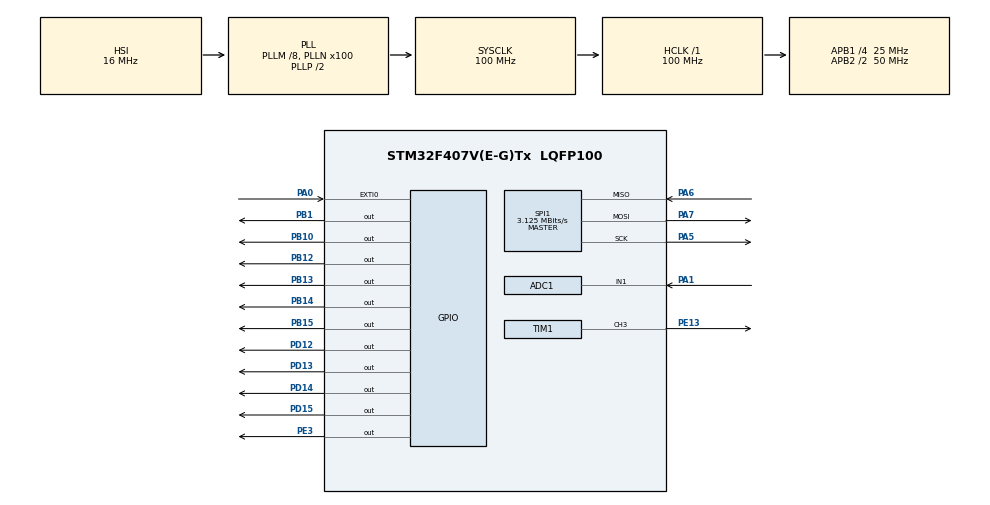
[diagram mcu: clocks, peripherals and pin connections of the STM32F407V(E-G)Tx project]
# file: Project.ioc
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ADC1.Channel-0\#ChannelRegularConversion=ADC_CHANNEL_1
ADC1.NbrOfConversionFlag=1
ADC1.Rank-0\#ChannelRegularConversion=1
ADC1.Resolution=ADC_RESOLUTION_8B
ADC1.SamplingTime-0\#ChannelRegularConversion=ADC_SAMPLETIME_3CYCLES
ADC1.master=1
Mcu.Family=STM32F4
Mcu.Name=STM32F407V(E-G)Tx
Mcu.Package=LQFP100
NVIC.EXTI0_IRQn=true\:0\:0\:false\:false\:true\:true\:true\:true
NVIC.PriorityGroup=NVIC_PRIORITYGROUP_0
NVIC.TIM2_IRQn=true\:0\:0\:false\:false\:true\:true\:true\:true
NVIC.TIM3_IRQn=true\:0\:0\:false\:false\:true\:true\:true\:true
PA0-WKUP.Signal=GPXTI0
PA1.Signal=ADCx_IN1
PA13.Mode=Serial_Wire
PA13.Signal=SYS_JTMS-SWDIO
PA14.Mode=Serial_Wire
PA14.Signal=SYS_JTCK-SWCLK
PA5.Mode=Full_Duplex_Master
PA5.Signal=SPI1_SCK
PA6.Mode=Full_Duplex_Master
PA6.Signal=SPI1_MISO
PA7.Mode=Full_Duplex_Master
PA7.Signal=SPI1_MOSI
PB1.Signal=GPIO_Output
PB10.Signal=GPIO_Output
PB12.Signal=GPIO_Output
PB13.Signal=GPIO_Output
PB14.Signal=GPIO_Output
PB15.Signal=GPIO_Output
PD12.Signal=GPIO_Output
PD13.Signal=GPIO_Output
PD14.Signal=GPIO_Output
PD15.Signal=GPIO_Output
PE13.Signal=S_TIM1_CH3
PE3.PinState=GPIO_PIN_SET
PE3.Signal=GPIO_Output
ProjectManager.HeapSize=0x200
ProjectManager.StackSize=0x400
ProjectManager.TargetToolchain=STM32CubeIDE
RCC.48MHZClocksFreq_Value=28571428.57142857
RCC.AHBFreq_Value=100000000
RCC.APB1CLKDivider=RCC_HCLK_DIV4
RCC.APB1Freq_Value=25000000
RCC.APB1TimFreq_Value=50000000
RCC.APB2CLKDivider=RCC_HCLK_DIV2
RCC.APB2Freq_Value=50000000
RCC.APB2TimFreq_Value=100000000
RCC.CortexFreq_Value=100000000
RCC.HCLKFreq_Value=100000000
RCC.HSE_VALUE=8000000
RCC.HSI_VALUE=16000000
RCC.LSE_VALUE=32768
RCC.PLLM=8
RCC.PLLN=100
RCC.PLLQ=7
RCC.SYSCLKFreq_VALUE=100000000
RCC.SYSCLKSource=RCC_SYSCLKSOURCE_PLLCLK
RCC.VCOOutputFreq_Value=200000000
SH.ADCx_IN1.0=ADC1_IN1,IN1
SH.S_TIM1_CH3.0=TIM1_CH3,PWM Generation3 CH3
SPI1.BaudRatePrescaler=SPI_BAUDRATEPRESCALER_16
SPI1.CalculateBaudRate=3.125 MBits/s
SPI1.Direction=SPI_DIRECTION_2LINES
SPI1.Mode=SPI_MODE_MASTER
SPI1.VirtualType=VM_MASTER
TIM1.Channel-PWM\ Generation3\ CH3=TIM_CHANNEL_3
TIM2.AutoReloadPreload=TIM_AUTORELOAD_PRELOAD_DISABLE
TIM2.Period=18750
TIM2.Prescaler=9999
TIM2.TIM_MasterOutputTrigger=TIM_TRGO_OC1REF
TIM3.Prescaler=3100
VP_TIM2_VS_ClockSourceINT.Mode=Internal
VP_TIM3_VS_ClockSourceINT.Mode=Internal
board=STM32F407G-DISC1

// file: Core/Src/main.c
/* USER CODE BEGIN Header */
/**
  ******************************************************************************
  * @file           : main.c
  * @brief          : Main program body
  ******************************************************************************
  * @attention
  *
  * Copyright (c) 2024 STMicroelectronics.
  * All rights reserved.
  *
  * This software is licensed under terms that can be found in the LICENSE file
  * in the root directory of this software component.
  * If no LICENSE file comes with this software, it is provided AS-IS.
  *
  ******************************************************************************
  */
/* USER CODE END Header */
#include "main.h"

/* USER CODE BEGIN Includes */
#include <stdio.h>
#include <stdbool.h>
#include "lcd.h"
/* USER CODE END Includes */

/* USER CODE BEGIN PD */
#define DelayBounce 50
/* USER CODE END PD */

ADC_HandleTypeDef hadc1;

SPI_HandleTypeDef hspi1;

TIM_HandleTypeDef htim1;
TIM_HandleTypeDef htim2;
TIM_HandleTypeDef htim3;

/* USER CODE BEGIN PV */
volatile bool flagmover,flagbase;
volatile bool initX, initY, initZ;
uint8_t newx, newy, newz;
uint8_t basex;
uint8_t basey;
uint8_t basez;
uint8_t data_ctrl1, address_ctrl1;
uint8_t valuechange, changeaddress;
uint8_t XDA,YDA,ZDA, XYZDA;
uint8_t bigX,bigY,bigZ,smlX,smlY,smlZ,Xadr,Yadr,Zadr;
uint8_t tempadd, temperatura;
uint8_t valADC;
uint32_t Timer=0;
bool THigh,TLow,cn;
int Temp,dutyc;
volatile uint32_t Bounce=0;
LCD_t lcd;
/* USER CODE END PV */

void SystemClock_Config(void);
static void MX_GPIO_Init(void);
static void MX_ADC1_Init(void);
static void MX_SPI1_Init(void);
static void MX_TIM2_Init(void);
static void MX_TIM3_Init(void);
static void MX_TIM1_Init(void);

/* USER CODE BEGIN 0 */
void HAL_GPIO_EXTI_Callback(uint16_t GPIO_Pin){
		if((HAL_GetTick()-Bounce)>DelayBounce){
			Bounce=HAL_GetTick();
			flagmover= true;
			HAL_TIM_Base_Start_IT(&htim3);
		}
}

void HAL_TIM_PeriodElapsedCallback(TIM_HandleTypeDef *htim){
	if(htim->Instance == TIM2){
		flagbase=true;
	}
	if(htim->Instance == TIM3){
		flagmover= false;
		HAL_TIM_Base_Stop_IT(&htim3);
		__HAL_TIM_SET_COUNTER(&htim3,0);
		__HAL_TIM_SET_COUNTER(&htim2,0);
		HAL_TIM_Base_Start_IT(&htim2);
		flagbase=false;
		initX= false;
		initY= false;
		initZ= false;
	}
}

int twos_to_int(uint8_t Input){
	int value;
	if(Input>127){
		value= -(~Input+1);
	}else{
		value=Input;
	}
	return value;
}

/* USER CODE END 0 */

int main(void)
{

  /* MCU Configuration--------------------------------------------------------*/

  /* Reset of all peripherals, Initializes the Flash interface and the Systick. */
  HAL_Init();

  /* Configure the system clock */
  SystemClock_Config();

  /* Initialize all configured peripherals */
  MX_GPIO_Init();
  MX_ADC1_Init();
  MX_SPI1_Init();
  MX_TIM2_Init();
  MX_TIM3_Init();
  MX_TIM1_Init();
  /* USER CODE BEGIN 2 */
  // LCD Configuración Inicio ----------------------------------------------
  	lcd.RS_port = GPIOB;
  	lcd.RS_pin = GPIO_PIN_10;
  	//lcd.RW_port = LCD_RW_GPIO_Port;
  	//lcd.RW_pin = LCD_RW_Pin;
  	lcd.EN_port = GPIOB;
  	lcd.EN_pin = GPIO_PIN_1;
  	lcd.D4_port = GPIOB;
  	lcd.D4_pin = GPIO_PIN_15;
  	lcd.D5_port = GPIOB;
  	lcd.D5_pin = GPIO_PIN_14;
  	lcd.D6_port = GPIOB;
  	lcd.D6_pin = GPIO_PIN_13;
  	lcd.D7_port = GPIOB;
  	lcd.D7_pin = GPIO_PIN_12;

  	//inicializamos el LCD
  	lcd_begin(&lcd, 16, 2, LCD_5x8DOTS);
 	//escribimos un mensaje inicial
	lcd_noDisplay(&lcd);
	lcd_display(&lcd);
	lcd_clear(&lcd);
	lcd_home(&lcd);

  	lcd_setCursor(&lcd, 0, 0);
  	lcd_print(&lcd, "Proyecto con");
  	lcd_setCursor(&lcd, 0, 1);
  	lcd_print(&lcd, "Edu Hector Pablo");

  // Parte del coidgo para activar el acelerometro
  HAL_GPIO_WritePin(GPIOE,GPIO_PIN_3, 0);
  address_ctrl1 = 0x20;
  data_ctrl1 = 0x47; //Referesco a 800Hz,
  HAL_SPI_Transmit(&hspi1, &address_ctrl1, 1, HAL_MAX_DELAY);
  HAL_SPI_Transmit(&hspi1, &data_ctrl1, 1, HAL_MAX_DELAY);
  HAL_GPIO_WritePin(GPIOE,GPIO_PIN_3, 1);

	HAL_GPIO_WritePin(GPIOD, GPIO_PIN_12, GPIO_PIN_RESET);
	HAL_GPIO_WritePin(GPIOD, GPIO_PIN_13, GPIO_PIN_RESET);
	HAL_GPIO_WritePin(GPIOD, GPIO_PIN_14, GPIO_PIN_RESET);
  //Inicilazion Timer

  HAL_TIM_Base_Start_IT(&htim2);
  initX= false; initY= false; initZ= false;
  flagmover= false; flagbase= false;

  //Inicializacion PWM
  HAL_TIM_PWM_Start(&htim1,TIM_CHANNEL_3);
  /* USER CODE END 2 */

  /* Infinite loop */
  /* USER CODE BEGIN WHILE */
  while (1)
  {
	//Poner las bases si el timepo de establecimiento ha pasado
	if(flagbase== true){
		if(initX == false){
			basex=newx;
			initX = true;
		}
		if(initY == false){
			basey=newy;
			initY = true;
		}
		if(initZ == false){
			basez=newz;
			initZ = true;
		}

	}
	// Comprobar si ha habido un cambio en los valores
    /* USER CODE END WHILE */

    /* USER CODE BEGIN 3 */

	// Codigo de Temperatura
	 HAL_GPIO_WritePin(GPIOE,GPIO_PIN_3, 0);
	 tempadd= 0x0C | 0x80;
	 HAL_SPI_Transmit(&hspi1, &tempadd, 1, HAL_MAX_DELAY);
	 HAL_SPI_Receive(&hspi1, &temperatura, 1,  HAL_MAX_DELAY);
	 HAL_GPIO_WritePin(GPIOE,GPIO_PIN_3, 1);

	 Temp= twos_to_int(temperatura);
	 Temp= Temp+25;

	 if(Temp> 30){
		 THigh = true;
		 TLow = false;

	 }else if(Temp < 10){
		 THigh = false;
		 TLow = true;

	 }else{
		 THigh = false;
		 TLow = false;
		 cn = false;
	 }
	 //LCD temperatura
	 if (THigh == true && cn == false){
		  	//Mensaje de temperatura alta en LCD
	  	    lcd_noDisplay(&lcd);
	  	    lcd_display(&lcd);
	  	    lcd_clear(&lcd);
	  	    lcd_home(&lcd);

		  	lcd_setCursor(&lcd, 0, 0);
		  	lcd_print(&lcd, "Peligro !!!");
		  	lcd_setCursor(&lcd, 0, 1);
		  	lcd_print(&lcd, "Temp alta");
		  	cn = true;

	 }
		  	else if (TLow == true && cn == false){
			  	//Mensaje de temperatura baja en LCD
		  	    lcd_noDisplay(&lcd);
		  	    lcd_display(&lcd);
		  	    lcd_clear(&lcd);
		  	    lcd_home(&lcd);

			  	lcd_setCursor(&lcd, 0, 0);
			  	lcd_print(&lcd, "Peligro !!!");
			  	lcd_setCursor(&lcd, 0, 1);
			  	lcd_print(&lcd, "Temp baja");
			  	cn = true;

	 }
		  	else if (TLow == false && THigh == false)
		  	{
		  	 	//escribimos el mensaje de temperatura
		  		if((HAL_GetTick() - Timer)> 50) {
		  		Timer= HAL_GetTick();
		  		lcd_noDisplay(&lcd);
		  		lcd_display(&lcd);
		  		lcd_clear(&lcd);
		  		lcd_home(&lcd);

		  		char ttemp[20];
		  		itoa(Temp,ttemp,10);

		  	  	lcd_setCursor(&lcd, 0, 0);
		  	  	lcd_print(&lcd, "Temperatura:");
		  	  	lcd_setCursor(&lcd, 0, 1);
		  	  	lcd_print(&lcd, ttemp);
		  		}

		  	}

	//Si hay nuevos valores cojerlos.
	 	 //X accel
		 HAL_GPIO_WritePin(GPIOE,GPIO_PIN_3, 0);
		 Xadr= 0x29 | 0x80;
		 HAL_SPI_Transmit(&hspi1, &Xadr, 1, HAL_MAX_DELAY);
		 HAL_SPI_Receive(&hspi1, &bigX, 1,  HAL_MAX_DELAY);
		 HAL_GPIO_WritePin(GPIOE,GPIO_PIN_3, 1);

		 HAL_GPIO_WritePin(GPIOE,GPIO_PIN_3, 0);
		 Xadr= 0x28 | 0x80;
		 HAL_SPI_Transmit(&hspi1, &Xadr, 1, HAL_MAX_DELAY);
		 HAL_SPI_Receive(&hspi1, &smlX, 1, HAL_MAX_DELAY);
		 HAL_GPIO_WritePin(GPIOE,GPIO_PIN_3, 1);
		 newx= bigX& 0x80;

		 //Y accel
		 HAL_GPIO_WritePin(GPIOE,GPIO_PIN_3, GPIO_PIN_RESET);
		 Yadr= 0x2B | 0x80;
		 HAL_SPI_Transmit(&hspi1, &Yadr, 1, 50);
		 HAL_SPI_Receive(&hspi1, &bigY, 1, 50);
		 HAL_GPIO_WritePin(GPIOE,GPIO_PIN_3, GPIO_PIN_SET);

		 HAL_GPIO_WritePin(GPIOE,GPIO_PIN_3, GPIO_PIN_RESET);
		 Yadr= 0x2A | 0x80;
		 HAL_SPI_Transmit(&hspi1, &Yadr, 1, 50);
		 HAL_SPI_Receive(&hspi1, &smlY, 1, 50);
		 HAL_GPIO_WritePin(GPIOE,GPIO_PIN_3, GPIO_PIN_SET);
		 newy= bigY & 0x80;

		 //Z accel
		 HAL_GPIO_WritePin(GPIOE,GPIO_PIN_3, GPIO_PIN_RESET);
		 Zadr= 0x2D | 0x80;
		 HAL_SPI_Transmit(&hspi1, &Zadr, 1, 50);
		 HAL_SPI_Receive(&hspi1, &bigZ, 1, 50);
		 HAL_GPIO_WritePin(GPIOE,GPIO_PIN_3, GPIO_PIN_SET);

		 HAL_GPIO_WritePin(GPIOE,GPIO_PIN_3, GPIO_PIN_RESET);
		 Zadr= 0x2C | 0x80;
		 HAL_SPI_Transmit(&hspi1, &Zadr, 1, 50);
		 HAL_SPI_Receive(&hspi1, &smlZ, 1, 50);
		 HAL_GPIO_WritePin(GPIOE,GPIO_PIN_3, GPIO_PIN_SET);
		 newz= bigZ & 0x80;

	//Se encienden LEDs si se ha movido
	if(newx != basex && initX == true ){
		HAL_GPIO_WritePin(GPIOD, GPIO_PIN_12, GPIO_PIN_SET);
	}
	if(newy != basey && initY == true){
		HAL_GPIO_WritePin(GPIOD, GPIO_PIN_13, GPIO_PIN_SET);
	}
	if(newz != basez && initZ == true){
		HAL_GPIO_WritePin(GPIOD, GPIO_PIN_14, GPIO_PIN_SET);
	}

	//Se apagan los leds tras un rato
	if(flagmover == true){
		HAL_GPIO_WritePin(GPIOD, GPIO_PIN_12, GPIO_PIN_RESET);
		HAL_GPIO_WritePin(GPIOD, GPIO_PIN_13, GPIO_PIN_RESET);
		HAL_GPIO_WritePin(GPIOD, GPIO_PIN_14, GPIO_PIN_RESET);
	}

	//Valor LDR
	HAL_ADC_Start(&hadc1);
	if( HAL_ADC_PollForConversion(&hadc1,HAL_MAX_DELAY)==HAL_OK){
		 	valADC=HAL_ADC_GetValue(&hadc1);
	};
	HAL_ADC_Stop(&hadc1);
	//Tratado ADC
	if(valADC>200){
		dutyc = 0;
	}else{
		dutyc=(200-(int)valADC);
	}
	__HAL_TIM_SET_COMPARE(&htim1,TIM_CHANNEL_3,(dutyc)*200);
  }
  /* USER CODE END 3 */
}

void SystemClock_Config(void)
{
  RCC_OscInitTypeDef RCC_OscInitStruct = {0};
  RCC_ClkInitTypeDef RCC_ClkInitStruct = {0};

  /** Configure the main internal regulator output voltage
  */
  __HAL_RCC_PWR_CLK_ENABLE();
  __HAL_PWR_VOLTAGESCALING_CONFIG(PWR_REGULATOR_VOLTAGE_SCALE1);

  /** Initializes the RCC Oscillators according to the specified parameters
  * in the RCC_OscInitTypeDef structure.
  */
  RCC_OscInitStruct.OscillatorType = RCC_OSCILLATORTYPE_HSI;
  RCC_OscInitStruct.HSIState = RCC_HSI_ON;
  RCC_OscInitStruct.HSICalibrationValue = RCC_HSICALIBRATION_DEFAULT;
  RCC_OscInitStruct.PLL.PLLState = RCC_PLL_ON;
  RCC_OscInitStruct.PLL.PLLSource = RCC_PLLSOURCE_HSI;
  RCC_OscInitStruct.PLL.PLLM = 8;
  RCC_OscInitStruct.PLL.PLLN = 100;
  RCC_OscInitStruct.PLL.PLLP = RCC_PLLP_DIV2;
  RCC_OscInitStruct.PLL.PLLQ = 7;
  if (HAL_RCC_OscConfig(&RCC_OscInitStruct) != HAL_OK)
  {
    Error_Handler();
  }

  /** Initializes the CPU, AHB and APB buses clocks
  */
  RCC_ClkInitStruct.ClockType = RCC_CLOCKTYPE_HCLK|RCC_CLOCKTYPE_SYSCLK
                              |RCC_CLOCKTYPE_PCLK1|RCC_CLOCKTYPE_PCLK2;
  RCC_ClkInitStruct.SYSCLKSource = RCC_SYSCLKSOURCE_PLLCLK;
  RCC_ClkInitStruct.AHBCLKDivider = RCC_SYSCLK_DIV1;
  RCC_ClkInitStruct.APB1CLKDivider = RCC_HCLK_DIV4;
  RCC_ClkInitStruct.APB2CLKDivider = RCC_HCLK_DIV2;

  if (HAL_RCC_ClockConfig(&RCC_ClkInitStruct, FLASH_LATENCY_3) != HAL_OK)
  {
    Error_Handler();
  }
}

static void MX_ADC1_Init(void)
{

  ADC_ChannelConfTypeDef sConfig = {0};

  /** Configure the global features of the ADC (Clock, Resolution, Data Alignment and number of conversion)
  */
  hadc1.Instance = ADC1;
  hadc1.Init.ClockPrescaler = ADC_CLOCK_SYNC_PCLK_DIV2;
  hadc1.Init.Resolution = ADC_RESOLUTION_8B;
  hadc1.Init.ScanConvMode = DISABLE;
  hadc1.Init.ContinuousConvMode = DISABLE;
  hadc1.Init.DiscontinuousConvMode = DISABLE;
  hadc1.Init.ExternalTrigConvEdge = ADC_EXTERNALTRIGCONVEDGE_NONE;
  hadc1.Init.ExternalTrigConv = ADC_SOFTWARE_START;
  hadc1.Init.DataAlign = ADC_DATAALIGN_RIGHT;
  hadc1.Init.NbrOfConversion = 1;
  hadc1.Init.DMAContinuousRequests = DISABLE;
  hadc1.Init.EOCSelection = ADC_EOC_SINGLE_CONV;
  if (HAL_ADC_Init(&hadc1) != HAL_OK)
  {
    Error_Handler();
  }

  /** Configure for the selected ADC regular channel its corresponding rank in the sequencer and its sample time.
  */
  sConfig.Channel = ADC_CHANNEL_1;
  sConfig.Rank = 1;
  sConfig.SamplingTime = ADC_SAMPLETIME_3CYCLES;
  if (HAL_ADC_ConfigChannel(&hadc1, &sConfig) != HAL_OK)
  {
    Error_Handler();
  }

}

static void MX_SPI1_Init(void)
{

  /* SPI1 parameter configuration*/
  hspi1.Instance = SPI1;
  hspi1.Init.Mode = SPI_MODE_MASTER;
  hspi1.Init.Direction = SPI_DIRECTION_2LINES;
  hspi1.Init.DataSize = SPI_DATASIZE_8BIT;
  hspi1.Init.CLKPolarity = SPI_POLARITY_LOW;
  hspi1.Init.CLKPhase = SPI_PHASE_1EDGE;
  hspi1.Init.NSS = SPI_NSS_SOFT;
  hspi1.Init.BaudRatePrescaler = SPI_BAUDRATEPRESCALER_16;
  hspi1.Init.FirstBit = SPI_FIRSTBIT_MSB;
  hspi1.Init.TIMode = SPI_TIMODE_DISABLE;
  hspi1.Init.CRCCalculation = SPI_CRCCALCULATION_DISABLE;
  hspi1.Init.CRCPolynomial = 10;
  if (HAL_SPI_Init(&hspi1) != HAL_OK)
  {
    Error_Handler();
  }

}

static void MX_TIM1_Init(void)
{

  TIM_MasterConfigTypeDef sMasterConfig = {0};
  TIM_OC_InitTypeDef sConfigOC = {0};
  TIM_BreakDeadTimeConfigTypeDef sBreakDeadTimeConfig = {0};

  htim1.Instance = TIM1;
  htim1.Init.Prescaler = 0;
  htim1.Init.CounterMode = TIM_COUNTERMODE_UP;
  htim1.Init.Period = 65535;
  htim1.Init.ClockDivision = TIM_CLOCKDIVISION_DIV1;
  htim1.Init.RepetitionCounter = 0;
  htim1.Init.AutoReloadPreload = TIM_AUTORELOAD_PRELOAD_DISABLE;
  if (HAL_TIM_PWM_Init(&htim1) != HAL_OK)
  {
    Error_Handler();
  }
  sMasterConfig.MasterOutputTrigger = TIM_TRGO_RESET;
  sMasterConfig.MasterSlaveMode = TIM_MASTERSLAVEMODE_DISABLE;
  if (HAL_TIMEx_MasterConfigSynchronization(&htim1, &sMasterConfig) != HAL_OK)
  {
    Error_Handler();
  }
  sConfigOC.OCMode = TIM_OCMODE_PWM1;
  sConfigOC.Pulse = 0;
  sConfigOC.OCPolarity = TIM_OCPOLARITY_HIGH;
  sConfigOC.OCNPolarity = TIM_OCNPOLARITY_HIGH;
  sConfigOC.OCFastMode = TIM_OCFAST_DISABLE;
  sConfigOC.OCIdleState = TIM_OCIDLESTATE_RESET;
  sConfigOC.OCNIdleState = TIM_OCNIDLESTATE_RESET;
  if (HAL_TIM_PWM_ConfigChannel(&htim1, &sConfigOC, TIM_CHANNEL_3) != HAL_OK)
  {
    Error_Handler();
  }
  sBreakDeadTimeConfig.OffStateRunMode = TIM_OSSR_DISABLE;
  sBreakDeadTimeConfig.OffStateIDLEMode = TIM_OSSI_DISABLE;
  sBreakDeadTimeConfig.LockLevel = TIM_LOCKLEVEL_OFF;
  sBreakDeadTimeConfig.DeadTime = 0;
  sBreakDeadTimeConfig.BreakState = TIM_BREAK_DISABLE;
  sBreakDeadTimeConfig.BreakPolarity = TIM_BREAKPOLARITY_HIGH;
  sBreakDeadTimeConfig.AutomaticOutput = TIM_AUTOMATICOUTPUT_DISABLE;
  if (HAL_TIMEx_ConfigBreakDeadTime(&htim1, &sBreakDeadTimeConfig) != HAL_OK)
  {
    Error_Handler();
  }
  HAL_TIM_MspPostInit(&htim1);

}

static void MX_TIM2_Init(void)
{

  TIM_ClockConfigTypeDef sClockSourceConfig = {0};
  TIM_MasterConfigTypeDef sMasterConfig = {0};

  htim2.Instance = TIM2;
  htim2.Init.Prescaler = 9999;
  htim2.Init.CounterMode = TIM_COUNTERMODE_UP;
  htim2.Init.Period = 18750;
  htim2.Init.ClockDivision = TIM_CLOCKDIVISION_DIV1;
  htim2.Init.AutoReloadPreload = TIM_AUTORELOAD_PRELOAD_DISABLE;
  if (HAL_TIM_Base_Init(&htim2) != HAL_OK)
  {
    Error_Handler();
  }
  sClockSourceConfig.ClockSource = TIM_CLOCKSOURCE_INTERNAL;
  if (HAL_TIM_ConfigClockSource(&htim2, &sClockSourceConfig) != HAL_OK)
  {
    Error_Handler();
  }
  sMasterConfig.MasterOutputTrigger = TIM_TRGO_OC1REF;
  sMasterConfig.MasterSlaveMode = TIM_MASTERSLAVEMODE_DISABLE;
  if (HAL_TIMEx_MasterConfigSynchronization(&htim2, &sMasterConfig) != HAL_OK)
  {
    Error_Handler();
  }

}

static void MX_TIM3_Init(void)
{

  TIM_ClockConfigTypeDef sClockSourceConfig = {0};
  TIM_MasterConfigTypeDef sMasterConfig = {0};

  htim3.Instance = TIM3;
  htim3.Init.Prescaler = 3100;
  htim3.Init.CounterMode = TIM_COUNTERMODE_UP;
  htim3.Init.Period = 65535;
  htim3.Init.ClockDivision = TIM_CLOCKDIVISION_DIV1;
  htim3.Init.AutoReloadPreload = TIM_AUTORELOAD_PRELOAD_DISABLE;
  if (HAL_TIM_Base_Init(&htim3) != HAL_OK)
  {
    Error_Handler();
  }
  sClockSourceConfig.ClockSource = TIM_CLOCKSOURCE_INTERNAL;
  if (HAL_TIM_ConfigClockSource(&htim3, &sClockSourceConfig) != HAL_OK)
  {
    Error_Handler();
  }
  sMasterConfig.MasterOutputTrigger = TIM_TRGO_RESET;
  sMasterConfig.MasterSlaveMode = TIM_MASTERSLAVEMODE_DISABLE;
  if (HAL_TIMEx_MasterConfigSynchronization(&htim3, &sMasterConfig) != HAL_OK)
  {
    Error_Handler();
  }

}

static void MX_GPIO_Init(void)
{
  GPIO_InitTypeDef GPIO_InitStruct = {0};

  /* GPIO Ports Clock Enable */
  __HAL_RCC_GPIOE_CLK_ENABLE();
  __HAL_RCC_GPIOA_CLK_ENABLE();
  __HAL_RCC_GPIOB_CLK_ENABLE();
  __HAL_RCC_GPIOD_CLK_ENABLE();

  /*Configure GPIO pin Output Level */
  HAL_GPIO_WritePin(GPIOE, GPIO_PIN_3, GPIO_PIN_SET);

  /*Configure GPIO pin Output Level */
  HAL_GPIO_WritePin(GPIOB, GPIO_PIN_1|GPIO_PIN_10|GPIO_PIN_12|GPIO_PIN_13
                          |GPIO_PIN_14|GPIO_PIN_15, GPIO_PIN_RESET);

  /*Configure GPIO pin Output Level */
  HAL_GPIO_WritePin(GPIOD, GPIO_PIN_12|GPIO_PIN_13|GPIO_PIN_14|GPIO_PIN_15, GPIO_PIN_RESET);

  /*Configure GPIO pin : PE3 */
  GPIO_InitStruct.Pin = GPIO_PIN_3;
  GPIO_InitStruct.Mode = GPIO_MODE_OUTPUT_PP;
  GPIO_InitStruct.Pull = GPIO_NOPULL;
  GPIO_InitStruct.Speed = GPIO_SPEED_FREQ_LOW;
  HAL_GPIO_Init(GPIOE, &GPIO_InitStruct);

  /*Configure GPIO pin : PA0 */
  GPIO_InitStruct.Pin = GPIO_PIN_0;
  GPIO_InitStruct.Mode = GPIO_MODE_IT_RISING;
  GPIO_InitStruct.Pull = GPIO_NOPULL;
  HAL_GPIO_Init(GPIOA, &GPIO_InitStruct);

  /*Configure GPIO pins : PB1 PB10 PB12 PB13
                           PB14 PB15 */
  GPIO_InitStruct.Pin = GPIO_PIN_1|GPIO_PIN_10|GPIO_PIN_12|GPIO_PIN_13
                          |GPIO_PIN_14|GPIO_PIN_15;
  GPIO_InitStruct.Mode = GPIO_MODE_OUTPUT_PP;
  GPIO_InitStruct.Pull = GPIO_NOPULL;
  GPIO_InitStruct.Speed = GPIO_SPEED_FREQ_LOW;
  HAL_GPIO_Init(GPIOB, &GPIO_InitStruct);

  /*Configure GPIO pins : PD12 PD13 PD14 PD15 */
  GPIO_InitStruct.Pin = GPIO_PIN_12|GPIO_PIN_13|GPIO_PIN_14|GPIO_PIN_15;
  GPIO_InitStruct.Mode = GPIO_MODE_OUTPUT_PP;
  GPIO_InitStruct.Pull = GPIO_NOPULL;
  GPIO_InitStruct.Speed = GPIO_SPEED_FREQ_LOW;
  HAL_GPIO_Init(GPIOD, &GPIO_InitStruct);

  /* EXTI interrupt init*/
  HAL_NVIC_SetPriority(EXTI0_IRQn, 0, 0);
  HAL_NVIC_EnableIRQ(EXTI0_IRQn);

}

void Error_Handler(void)
{
  __disable_irq();
  while (1)
  {
  }
}
